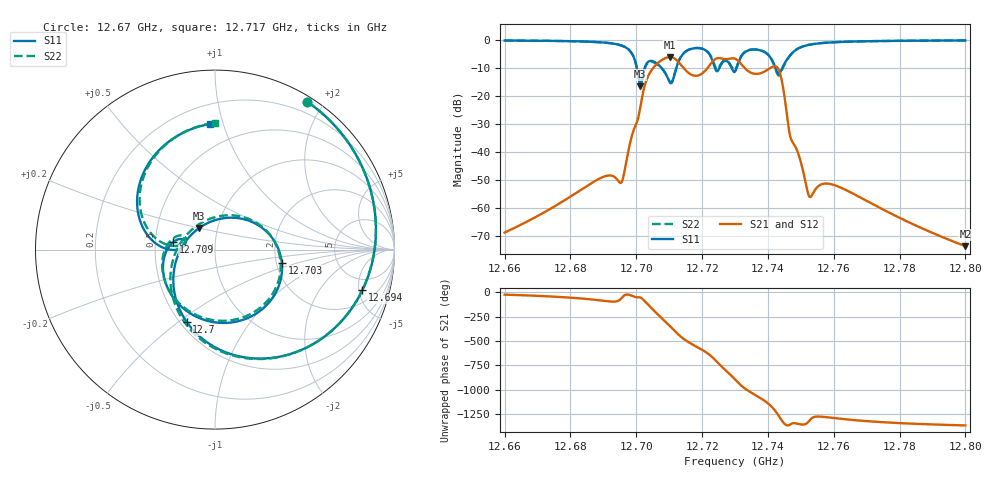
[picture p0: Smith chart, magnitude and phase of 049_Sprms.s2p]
! TOUCHSTONE file generated by CST MICROWAVE STUDIO
! Date and time: Wed Jul 31 13:09:00 2024
! Project name: WaveGuide_BPF-Ver4.1_U-shape_Ku_T3_C4_CWA_2.cst
! Parameters = {cavity_h=16; cavity_l0=10; cavity_l1=15.2178; cavity_l2=16.8678; cavity_l3=17.1013; cavity_l4=17.3066; cavity_l5=17.1499; cavity_l6=17.6128; cavity_r=2.5; cavity_screw_l=0.5; cavity_screw_r=1.5; cavity_w=8; iris_h00=0; iris_h01=8.799; iris_h112=0; iris_h12=5.609; iris_h211=3.6569; ir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
! Header version: 2018
! Port assignment regex: !\s*Touchstone port\s*([0-9]+)\s*=\s*(CST MWS port|CST DS port)\s*([0-9]+|Zmin|Zmax)\s*\(\"(.*)\"\)(\s*mode\s*([0-9]+))?.*
! Touchstone port assignment:
! Touchstone port 1 = CST MWS port 1 ("")
! Touchstone port 2 = CST MWS port 2 ("")
# GHz S RI R 50
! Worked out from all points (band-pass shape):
!   5001 points, 12.66 GHz to 12.8 GHz, reference 50 ohm
!   highest |S21| = -6.10 dB at 12.71 GHz (marker M1); lowest = -73.7 dB at 12.8 GHz (marker M2)
!   |S21| within 3 dB of the highest: 12.70579 GHz to 12.71372 GHz (7.931 MHz wide, 0.0624 % of centre); 12.72226 GHz to 12.73223 GHz (9.975 MHz wide, 0.0784 % of centre)
!   lowest |S11| = -16.5 dB at 12.701 GHz (marker M3), VSWR 1.35, Z = 40.9 + j10.1 ohm
!   |S11| at or under -10 dB: 12.70018 GHz to 12.70256 GHz (2.385 MHz wide, 0.0188 % of centre); 12.70771 GHz to 12.71217 GHz (4.46 MHz wide, 0.0351 % of centre); 12.74227 GHz to 12.74436 GHz (2.095 MHz wide, 0.0164 % of centre)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
!   |S22| runs from -15.6 to -0.2 dB; largest |S21 - S12| = 1e-09
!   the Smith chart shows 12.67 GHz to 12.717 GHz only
!   S11 on the Smith chart (normalised r, x): 12.67 GHz: 0.06, +1.80; 12.694 GHz: 3.28, -5.43; 12.7 GHz: 0.54, -0.54; 12.703 GHz: 2.14, -0.37; 12.709 GHz: 0.62, +0.05; 12.717 GHz: 0.33, +0.91
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12.66  0.3449 0.9163  0.000326 -0.000152  0.000326 -0.000152  0.3459 0.916
12.66969  0.5131 0.8245  0.000554 -0.000418  0.000554 -0.000418  0.5137 0.8243
12.68335  0.8051 0.4917  0.000899 -0.00192  0.000899 -0.00192  0.8054 0.4909
12.6936  0.8207 -0.2271  -0.000386 -0.00346  -0.000386 -0.00346  0.8165 -0.2342
12.69959  -0.1574 -0.4033  0.0185 -0.021  0.0185 -0.021  -0.1771 -0.3939
12.70124  -0.0872 0.1207  0.0368 -0.0519  0.0368 -0.0519  -0.1023 0.1321
12.70318  0.3723 -0.0746  -0.0811 -0.1794  -0.0811 -0.1794  0.3641 -0.0582
12.70668  -0.2076 -0.2979  -0.2451 0.3075  -0.2451 0.3075  -0.2222 -0.2748
12.70911  -0.2345 0.0406  0.3068 0.37  0.3068 0.37  -0.2293 0.0651
12.71026  -0.1665 0.047  0.4852 0.1009  0.4852 0.1009  -0.1631 0.0646
12.71275  -0.3858 0.0948  0.1261 -0.389  0.1261 -0.389  -0.3822 0.1275
12.71698  -0.0251 0.6998  -0.2348 -0.026  -0.2348 -0.026  0.00266 0.7072
12.72112  0.5449 0.3539  -0.0818 0.2781  -0.0818 0.2781  0.5536 0.3572
12.72482  0.2582 0.1162  0.4728 -0.0404  0.4728 -0.0404  0.282 0.1173
12.73  0.2693 0.0403  -0.4604 -0.057  -0.4604 -0.057  0.2881 0.0392
12.73361  0.5883 -0.2424  0.0525 0.2851  0.0525 0.2851  0.5952 -0.2449
12.73739  0.0588 -0.6579  0.2511 0.00951  0.2511 0.00951  0.0786 -0.6605
12.74308  -0.2334 0.0833  -0.3083 -0.0249  -0.3083 -0.0249  -0.2255 0.0684
12.7482  0.6403 -0.0803  -0.00174 0.0127  -0.00174 0.0127  0.6392 -0.094
12.75335  0.1574 -0.8235  -0.00146 0.000815  -0.00146 0.000815  0.1508 -0.8267
12.77668  -0.9463 -0.1804  -0.000215 0.000799  -0.000215 0.000799  -0.9462 -0.1806
12.8  -0.9361 0.2967  5.16e-05 0.000199  5.16e-05 0.000199  -0.9358 0.2975
